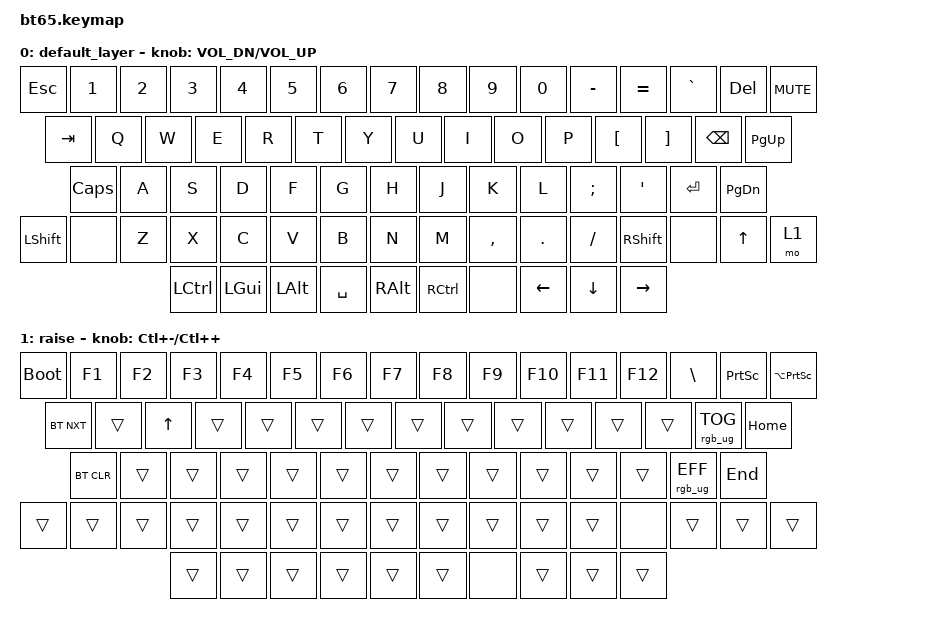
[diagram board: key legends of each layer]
#include <behaviors.dtsi>
#include <dt-bindings/zmk/keys.h>
#include <dt-bindings/zmk/bt.h>
#include <dt-bindings/zmk/rgb.h>
#include <dt-bindings/zmk/backlight.h>
#include <dt-bindings/zmk/ext_power.h>


/ {
	keymap {
		compatible = "zmk,keymap";

		default_layer {
				// ------------------------------------------------------------------------------------------------------------
				// |  `  |  1  |  2  |  3  |  4  |  5  |  6  |  7  |  8  |  9  |  0  |  -  |  =  |  \  |  DEL | MUTE |
				// | TAB  |  Q  |  W  |  E  |  R  |  T  |  Y  |  U  |  I  |  O  |  P  |  [  |  ]  |   BKSP    | PGUP |
				// | CAPS  |  A  |  S  |  D  |  F  |  G  |  H  |  J  |  K  |  L  |  ;  |  '  |     ENTER      | PGDN |
				// | SHIFT | NONE |  Z  |  X  |  C  |  V  |  B  |  N  |  M  |  ,  |  .  | /   |  SHIFT  | UP  | L1   |
				// | CTL   |  WIN  |  ALT  |            SPACE               | ALT | 1    |       |LEFT |DOWN  |RIGHT |
				// ------------------------------------------------------------------------------------------------------------
			bindings = <

				&kp ESC &kp N1 &kp N2 &kp N3 &kp N4 &kp N5 &kp N6 &kp N7 &kp  N8   &kp  N9   &kp N0 &kp MINUS &kp EQUAL &kp GRAVE &kp DEL &kp C_MUTE
				&kp TAB  &kp Q  &kp W  &kp E  &kp R  &kp T  &kp Y  &kp U  &kp  I    &kp  O  &kp  P   &kp LBKT &kp RBKT  	&kp BKSP &kp PG_UP
				&kp CLCK  &kp A  &kp S  &kp D  &kp F  &kp G  &kp H  &kp J  &kp  K    &kp  L  &kp SEMI &kp SQT           	&kp RET &kp PG_DN
				&kp LSHFT &none &kp Z  &kp X  &kp C  &kp V  &kp B  &kp N  &kp M  &kp COMMA &kp DOT &kp FSLH   &kp RSHFT &none &kp UP &mo 1
				&kp LCTRL &kp LGUI &kp LALT            &kp SPACE                          &kp RALT  &kp RCTRL &none &kp LEFT &kp DOWN &kp RIGHT
			>;
			sensor-bindings = <&inc_dec_kp C_VOL_DN C_VOL_UP>;
		};
		raise {
			bindings = <
				&bootloader &kp F1 &kp F2 &kp F3 &kp F4 &kp F5 &kp F6 &kp F7 &kp  F8   &kp  F9   &kp F10  &kp F11 &kp F12 &kp BSLH &kp PSCRN &kp LA(PSCRN)
				&bt BT_NXT &trans &kp UP &trans &trans &trans &trans &trans &trans &trans &trans &trans &trans &rgb_ug RGB_TOG &kp HOME
				&bt BT_CLR    &trans &trans &trans &trans &trans &trans &trans &trans &trans &trans  &trans   &rgb_ug RGB_EFF &kp END
				&trans &trans &trans &trans &trans &trans &trans &trans &trans &trans &trans &trans  &none &trans &trans &trans
				&trans &trans  &trans              &trans                            &trans   &trans   &none &trans &trans &trans
			>;
			sensor-bindings = <&inc_dec_kp LC(MINUS) LC(PLUS)>;
		};
	};
};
